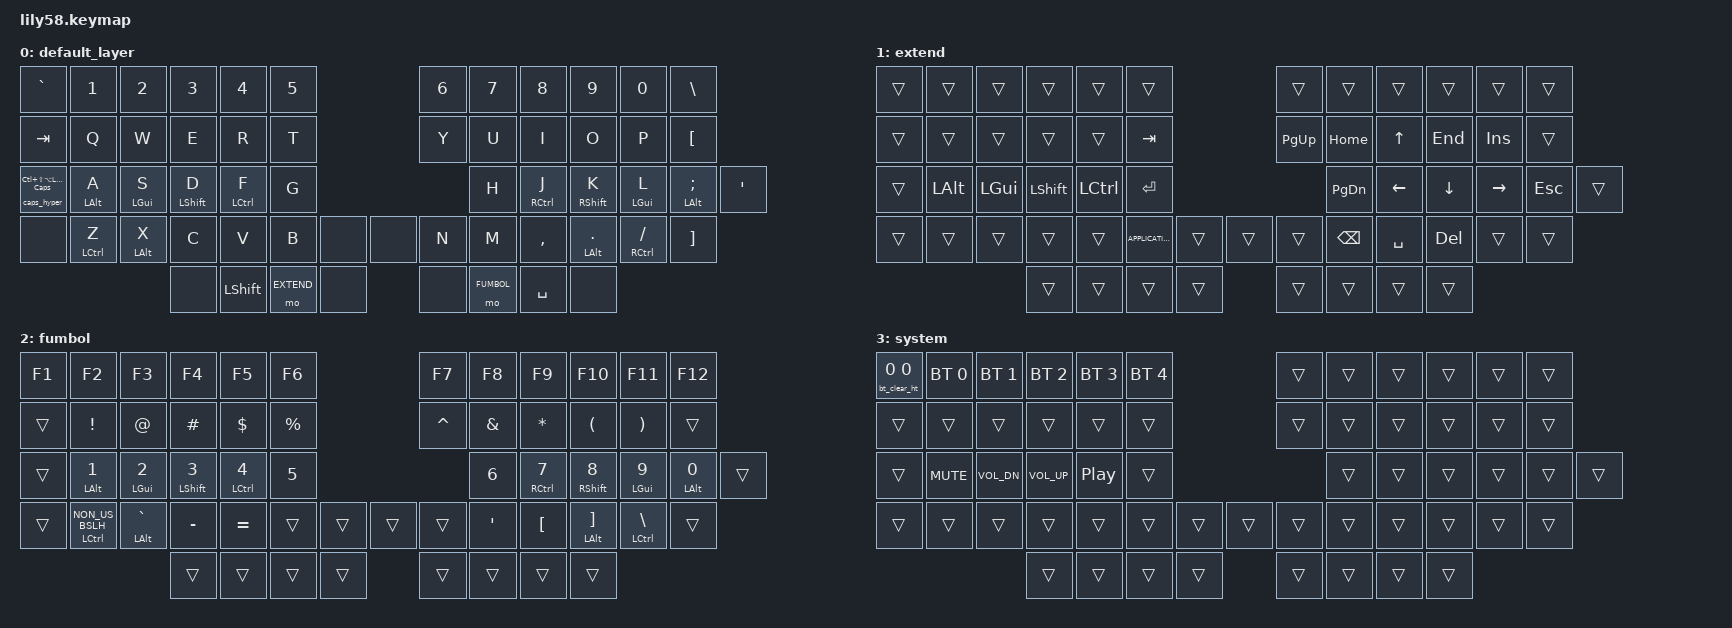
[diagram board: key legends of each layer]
/*
 * Copyright (c) 2020 The ZMK Contributors
 *
 * SPDX-License-Identifier: MIT
 */

#include <behaviors.dtsi>
#include <dt-bindings/zmk/keys.h>
#include <dt-bindings/zmk/bt.h>
#include <dt-bindings/zmk/ext_power.h>

#include "zmk-helpers/helper.h"
// Source desired key-position labels
#include "zmk-helpers/key-labels/lily58.h"
// Source unicode-chars for desired languages
#include "zmk-helpers/unicode-chars/russian.dtsi"

#define _BT_SEL_KEYS_                                                        \
      &bt BT_SEL 0 &bt BT_SEL 1 &bt BT_SEL 2 &bt BT_SEL 3 &bt BT_CLR

#define ___ &trans
#define XXX &none

// Layout is a port of https://github.com/argenkiwi/kenkyo (the original
// Kenkyo project) onto this lily58 hardware. `extend` and `fumbol` are
// Kenkyo's layers (minus its one-shot modifier chords, which are
// intentionally not ported); `system` is new here, reached by holding both
// `extend` and `fumbol` together, same tri-layer mechanism the old
// silakka54 config used for `sys`.
//
// This particular board only has 3 of lily58's 4 thumb keys per hand — the
// innermost key on each hand (LH0, RH0) doesn't physically exist.
#define DEF 0
#define EXTEND 1
#define FUMBOL 2
#define SYSTEM 3

/* Timeless homerow mods */

// https://github.com/urob/zmk-config/tree/main#timeless-homerow-mods
#define KEYS_L LT0 LT1 LT2 LT3 LT4 LT5 LM0 LM1 LM2 LM3 LM4 LM5 LB0 LB1 LB2 LB3 LB4 LB5 LF0 LF1 LF2 LF3 LF4 LF5  // left hand
#define KEYS_R RT0 RT1 RT2 RT3 RT4 RT5 RM0 RM1 RM2 RM3 RM4 RM5 RB0 RB1 RB2 RB3 RB4 RB5 RF0 RF1 RF2 RF3 RF4 RF5  // right hand
#define THUMBS LH3 LH2 LH1 LH0 RH0 RH1 RH2 RH3                            // thumbs

#define QUICK_TAP_MS 175

#define MAKE_HRM(NAME, HOLD, TAP, TRIGGER_POS)                                 \
  ZMK_HOLD_TAP(NAME, bindings = <HOLD>, <TAP>; flavor = "balanced";            \
               tapping-term-ms = <280>; quick-tap-ms = <QUICK_TAP_MS>;         \
               require-prior-idle-ms = <150>; hold-trigger-on-release;         \
               hold-trigger-key-positions = <TRIGGER_POS>;)

MAKE_HRM(hml, &kp, &kp, KEYS_R THUMBS) // Left-hand HRMs.
MAKE_HRM(hmr, &kp, &kp, KEYS_L THUMBS) // Right-hand HRMs.

// Leftmost home-row key: tap for Caps Lock, hold for Hyper (all 4 mods).
ZMK_HOLD_TAP(caps_hyper, bindings = <&kp>, <&kp>; flavor = "tap-preferred";
             tapping-term-ms = <200>; quick-tap-ms = <QUICK_TAP_MS>;)

/* Tri-layer: holding extend + fumbol together activates system */
ZMK_CONDITIONAL_LAYER(system, EXTEND FUMBOL, SYSTEM)

/* Bluetooth: tap does nothing, hold 3s clears the current profile's bond */
ZMK_MACRO(bt_clear, bindings = <&bt BT_CLR>;)

ZMK_HOLD_TAP(bt_clear_ht, bindings = <&bt_clear>, <&none>;
             flavor = "tap-preferred"; tapping-term-ms = <3000>;)

/ {
    keymap {
        compatible = "zmk,keymap";

        default_layer {
// ------------------------------------------------------------------------------------------------------------
// |  `  |  1  |  2  |  3   |  4   |  5   |                   |  6   |  7    |  8    |  9   |   0   |   \   |
// | TAB |  Q  |  W  |  E   |  R   |  T   |                   |  Y   |  U    |  I    |  O   |   P   |   [   |
// |CAPS/| A/A | S/G | D/S  | F/C  |  G   |                   |  H   | J/C   | K/S   | L/G  |  ;/A  |   '   |
// |HYPER|Z/Ctl|X/Alt|  C   |  V   |  B   |   xxx  |  |  xxx  |  N   |  M    |  ,    |./Alt |  //Ctl|   ]   |
//                   | none | Sft  |extend|  xxx   |  |  xxx  |fumbol|space | none |
//
// One-key chords (active on default + extend + fumbol): W+E->Esc, I+O->Bspc, X+C->Tab, ,+.->Enter
// Rightmost column (top to bottom) and top-left corner are ASCII hosts for
// the OS's Russian keyboard layout to remap by physical position.
// Only 3 of 4 thumb keys per hand exist on this board (innermost missing).
            bindings = <
&kp GRAVE            &kp N1        &kp N2      &kp N3       &kp N4       &kp N5                             &kp N6     &kp N7       &kp N8       &kp N9      &kp N0         &kp BSLH
&kp TAB              &kp Q         &kp W       &kp E        &kp R        &kp T                              &kp Y      &kp U        &kp I        &kp O       &kp P          &kp LBKT
&caps_hyper LC(LS(LA(LGUI))) CAPS  &hml LALT A   &hml LGUI S &hml LSHFT D &hml LCTRL F &kp G                              &kp H      &hmr RCTRL J &hmr RSHFT K &hmr LGUI L &hmr LALT SEMI &kp SQT
&none                &hml LCTRL Z  &hml LALT X &kp C        &kp V        &kp B            XXX        XXX    &kp N      &kp M        &kp COMMA    &hmr LALT DOT &hmr RCTRL FSLH &kp RBKT
                                                XXX          &kp LSHFT    &mo EXTEND       XXX               XXX        &mo FUMBOL   &kp SPACE    XXX
            >;
        };

        extend_layer {
// ------------------------------------------------------------------------------------------------------------
// Kenkyo's `extend` layer, held via the extend thumb key.
// |     |     |     |      |      |      |                   |      |       |       |      |       |       |
// |     |     |     |      |      | TAB  |                   | PGUP | HOME  |  UP   |  END |  INS  |       |
// |     | Alt | Gui |  Sft | Ctl  | RET  |                   | PGDN | LEFT  | DOWN  | RIGHT|  Esc  |       |
// |     |     |     |      |      | Menu |   xxx  |  |  xxx  |      | BSPC  | SPACE | DEL  |       |       |
// Media keys used to live on the bottom row here; moved to `system`.
            display-name = "extend";
            bindings = <
&trans &trans        &trans        &trans        &trans        &trans                              &trans     &trans      &trans      &trans     &trans   &trans
&trans &trans        &trans        &trans        &trans        &kp TAB                             &kp PG_UP  &kp HOME    &kp UP      &kp END    &kp INS  &trans
&trans &kp LALT       &kp LGUI      &kp LSHFT     &kp LCTRL     &kp RET                              &kp PG_DN  &kp LEFT    &kp DOWN    &kp RIGHT  &kp ESC  &trans
&trans &trans         &trans        &trans        &trans        &kp K_APPLICATION &trans     &trans   &trans    &kp BSPC    &kp SPACE   &kp DEL    &trans  &trans
                                    &trans        &trans        &trans           &trans     &trans   &trans     &trans      &trans
            >;
        };

        fumbol_layer {
// ------------------------------------------------------------------------------------------------------------
// Kenkyo's `fumbol` layer (Function/Numbers/Symbols), held via either
// thumb's fumbol key. F-keys fill the number row (F1-F12). Shift+number
// symbols sit on the row above home row.
// |  F1 |  F2 |  F3 |  F4  |  F5  |  F6  |                   |  F7  |  F8   |  F9   |  F10 |  F11  |  F12  |
// |     |  !  |  @  |  #   |  $   |  %   |                   |  ^   |   &   |   *   |  (   |   )   |       |
// |     |1/Alt|2/Gui|3/Sft |4/Ctl |  5   |                   |  6   | 7/Ctl | 8/Sft | 9/Gui| 0/Alt |       |
// |     |</Ctl|`/Alt|  -   |  =   |      |   xxx  |  |  xxx  |      |   '   |   [   | ]/Alt| \/Ctl |       |
//
// Fumbol-only chords: S+D->KP-, D+F->KP+, J+K->KP/, K+L->KP*, J+L->.
// (S+D+F "🔢₌" 3-key chord from the source not ported — unclear/garbled glyph)
            display-name = "fumbol";
            bindings = <
&kp F1 &kp F2               &kp F3        &kp F4        &kp F5        &kp F6                          &kp F7     &kp F8             &kp F9             &kp F10           &kp F11              &kp F12
&trans &kp EXCL              &kp AT        &kp HASH      &kp DLLR      &kp PRCNT                       &kp CARET  &kp AMPS           &kp ASTRK          &kp LPAR          &kp RPAR             &trans
&trans &hml LALT N1         &hml LGUI N2  &hml LSHFT N3 &hml LCTRL N4 &kp N5                           &kp N6     &hmr RCTRL N7      &hmr RSHFT N8      &hmr LGUI N9      &hmr LALT N0         &trans
&trans &hml LCTRL NON_US_BSLH &hml LALT GRAVE &kp MINUS   &kp EQUAL     &trans         &trans   &trans  &trans     &kp SQT            &kp LBKT           &hmr LALT RBKT    &hmr LCTRL BSLH      &trans
                                            &trans        &trans        &trans         &trans   &trans  &trans     &trans             &trans
            >;
        };

        system_layer {
// ------------------------------------------------------------------------------------------------------------
// Reached by holding EXTEND + FUMBOL together. Bluetooth on the number
// row (old silakka54 sys layer), media keys on the home row (moved here
// from extend, one row up from where they used to be).
// |CLR/3s|  1  |  2  |  3   |  4   |  5   |                   |      |       |       |      |       |       |
// |      |     |     |      |      |      |                   |      |       |       |      |       |       |
// |      |Mute |VolDn|VolUp |  PP  |      |                   |      |       |       |      |       |       |
// |      |     |     |      |      |      |   xxx  |  |  xxx  |      |       |       |      |       |       |
            display-name = "system";
            bindings = <
&bt_clear_ht 0 0 &bt BT_SEL 0 &bt BT_SEL 1 &bt BT_SEL 2 &bt BT_SEL 3 &bt BT_SEL 4     &trans &trans &trans &trans &trans &trans
&trans &trans &trans &trans &trans &trans                   &trans &trans &trans &trans &trans &trans
&trans &kp C_MUTE &kp C_VOL_DN &kp C_VOL_UP &kp C_PP &trans           &trans &trans &trans &trans &trans &trans
&trans &trans &trans &trans &trans &trans &trans &trans     &trans &trans &trans &trans &trans &trans
                     &trans &trans &trans &trans &trans    &trans &trans &trans
            >;
        };

        extra_2 {
            status = "reserved";
        };

        extra_3 {
            status = "reserved";
        };
    };
};

/ {
    combos {
        compatible = "zmk,combos";

        // Kenkyo's four one-key chords, valid on default, extend, and
        // fumbol (the individual taps differ per layer; the chord output
        // doesn't). Row labels here follow zmk-helpers' lily58 matrix
        // order, where LT/RT is the number row, LM/RM the QWERTY row,
        // LB/RB the home row, and LF/RF the bottom row.
        combo_esc {
            timeout-ms = <35>;
            key-positions = <LM2 LM3>; // W + E
            layers = <DEF EXTEND FUMBOL>;
            bindings = <&kp ESC>;
        };

        combo_bspc {
            timeout-ms = <35>;
            key-positions = <RM2 RM3>; // I + O
            layers = <DEF EXTEND FUMBOL>;
            bindings = <&kp BSPC>;
        };

        combo_tab {
            timeout-ms = <35>;
            key-positions = <LF2 LF3>; // X + C
            layers = <DEF EXTEND FUMBOL>;
            bindings = <&kp TAB>;
        };

        combo_ret {
            timeout-ms = <35>;
            key-positions = <RF2 RF3>; // , + .
            layers = <DEF EXTEND FUMBOL>;
            bindings = <&kp RET>;
        };

        // Fumbol-only math chords from Kenkyo's fhl/fhr chord groups.
        combo_kp_minus {
            timeout-ms = <35>;
            key-positions = <LB2 LB3>; // S + D
            layers = <FUMBOL>;
            bindings = <&kp KP_MINUS>;
        };

        combo_kp_plus {
            timeout-ms = <35>;
            key-positions = <LB1 LB2>; // D + F
            layers = <FUMBOL>;
            bindings = <&kp KP_PLUS>;
        };

        combo_kp_slash {
            timeout-ms = <35>;
            key-positions = <RB1 RB2>; // J + K
            layers = <FUMBOL>;
            bindings = <&kp KP_SLASH>;
        };

        combo_kp_asterisk {
            timeout-ms = <35>;
            key-positions = <RB2 RB3>; // K + L
            layers = <FUMBOL>;
            bindings = <&kp KP_ASTERISK>;
        };

        combo_dot {
            timeout-ms = <35>;
            key-positions = <RB1 RB3>; // J + L
            layers = <FUMBOL>;
            bindings = <&kp DOT>;
        };
    };
};
